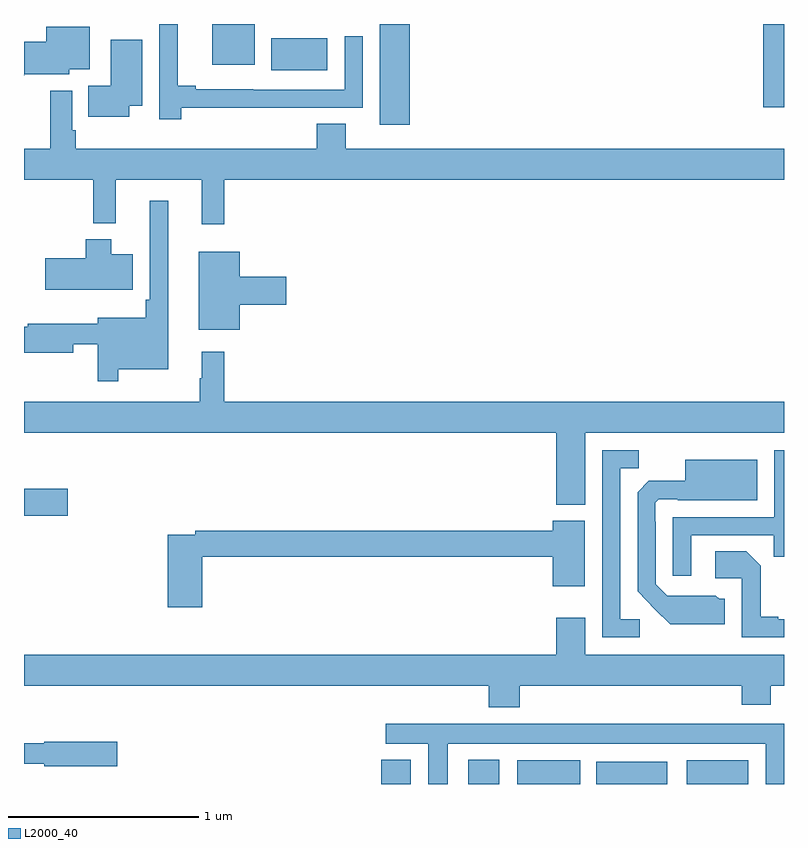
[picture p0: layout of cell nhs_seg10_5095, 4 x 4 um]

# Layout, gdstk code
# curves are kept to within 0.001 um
import gdstk
lib = gdstk.Library(unit=1e-6, precision=1e-09)
def R(c, l, rs):  # rectangles x0, y0, x1, y1
    for r in rs: c.add(gdstk.rectangle(r[:2], r[2:], *l))
def P(c, l, *ps):  # polygons
    for p in ps: c.add(gdstk.Polygon(p, *l))
L2000_40 = (2000, 40)

nhs_seg10_5095 = lib.new_cell('nhs_seg10_5095')
R(nhs_seg10_5095, L2000_40, [(408.881,1266.5,409.036,1266.628), (409.337,1266.5,409.501,1266.628), (409.595,1266.5,409.927,1266.625), (410.012,1266.5,410.386,1266.616), (410.489,1266.5,410.812,1266.625), (407,1267.913,407.23,1268.055), (408.872,1269.969,409.031,1270.5), (410.892,1270.061,411,1270.5), (408.302,1270.256,408.595,1270.426), (407.99,1270.286,408.214,1270.5)])
P(nhs_seg10_5095, L2000_40, [(407.828,1270.058),(408.458,1270.058),(408.458,1270.059),(408.783,1270.059),(408.783,1270.435),(408.687,1270.435),(408.687,1270.155),(408.206,1270.155),(408.206,1270.156),(407.905,1270.156),(407.905,1270.175),(407.81,1270.175),(407.81,1270.5),(407.712,1270.5),(407.712,1269.999),(407.828,1269.999)],
  [(407.002,1270.235),(407.238,1270.235),(407.238,1270.262),(407.347,1270.262),(407.347,1270.486),(407.117,1270.486),(407.117,1270.406),(407,1270.406),(407,1270.228),(407.002,1270.228)],
  [(407.554,1270.07),(407.623,1270.07),(407.623,1270.418),(407.456,1270.418),(407.456,1270.174),(407.338,1270.174),(407.338,1270.013),(407.554,1270.013)],
  [(407.253,1269.94),(407.253,1270.15),(407.137,1270.15),(407.137,1269.844),(407,1269.844),(407,1269.68),(407.365,1269.68),(407.365,1269.452),(407.483,1269.452),(407.483,1269.68),(407.936,1269.68),(407.936,1269.447),(408.053,1269.447),(408.053,1269.68),(411,1269.68),(411,1269.844),(408.694,1269.844),(408.694,1269.974),(408.542,1269.974),(408.542,1269.844),(407.273,1269.844),(407.273,1269.94)],
  [(407.497,1268.684),(407.758,1268.684),(407.758,1269.571),(407.661,1269.571),(407.661,1269.049),(407.641,1269.049),(407.641,1268.953),(407.387,1268.953),(407.387,1268.923),(407.021,1268.923),(407.021,1268.906),(407,1268.906),(407,1268.771),(407.26,1268.771),(407.26,1268.814),(407.388,1268.814),(407.388,1268.619),(407.497,1268.619)],
  [(407.572,1269.289),(407.458,1269.289),(407.458,1269.367),(407.324,1269.367),(407.324,1269.267),(407.112,1269.267),(407.112,1269.101),(407.572,1269.101)],
  [(408.136,1269.023),(408.379,1269.023),(408.379,1269.17),(408.136,1269.17),(408.136,1269.301),(407.921,1269.301),(407.921,1268.891),(408.136,1268.891)],
  [(409.954,1268.348),(411,1268.348),(411,1268.512),(408.053,1268.512),(408.053,1268.776),(407.936,1268.776),(407.936,1268.636),(407.925,1268.636),(407.925,1268.512),(407,1268.512),(407,1268.348),(409.802,1268.348),(409.802,1267.97),(409.954,1267.97)],
  [(410.242,1267.368),(410.139,1267.368),(410.139,1268.161),(410.235,1268.161),(410.235,1268.256),(410.043,1268.256),(410.043,1267.272),(410.242,1267.272)],
  [(410.511,1267.809),(410.947,1267.809),(410.947,1267.696),(411,1267.696),(411,1268.256),(410.949,1268.256),(410.949,1267.905),(410.415,1267.905),(410.415,1267.596),(410.511,1267.596)],
  [(410.689,1267.476),(410.658,1267.476),(410.642,1267.492),(410.385,1267.491),(410.325,1267.551),(410.325,1267.88),(410.322,1267.88),(410.322,1267.98),(410.34,1267.998),(410.44,1267.998),(410.44,1267.994),(410.86,1267.994),(410.86,1268.206),(410.48,1268.206),(410.48,1268.095),(410.288,1268.095),(410.229,1268.036),(410.229,1267.514),(410.401,1267.34),(410.689,1267.34)],
  [(407.939,1267.696),(409.784,1267.696),(409.784,1267.542),(409.951,1267.542),(409.951,1267.885),(409.784,1267.885),(409.784,1267.832),(407.902,1267.832),(407.902,1267.812),(407.756,1267.812),(407.756,1267.431),(407.939,1267.431)],
  [(411,1267.368),(410.971,1267.368),(410.971,1267.381),(410.877,1267.381),(410.877,1267.648),(410.801,1267.724),(410.637,1267.724),(410.637,1267.584),(410.778,1267.584),(410.778,1267.272),(411,1267.272)],
  [(409.61,1267.016),(410.777,1267.016),(410.777,1266.917),(410.929,1266.917),(410.929,1267.016),(411,1267.016),(411,1267.18),(409.954,1267.18),(409.954,1267.375),(409.802,1267.375),(409.802,1267.18),(407,1267.18),(407,1267.016),(409.445,1267.016),(409.445,1266.905),(409.61,1266.905)],
  [(409.231,1266.713),(410.904,1266.713),(410.904,1266.5),(411,1266.5),(411,1266.817),(408.903,1266.817),(408.903,1266.713),(409.127,1266.713),(409.127,1266.5),(409.231,1266.5)],
  [(407.491,1266.723),(407.106,1266.723),(407.106,1266.715),(407,1266.715),(407,1266.606),(407.106,1266.606),(407.106,1266.593),(407.491,1266.593)])

lib.write_gds('nhs_seg10_5095.gds')
